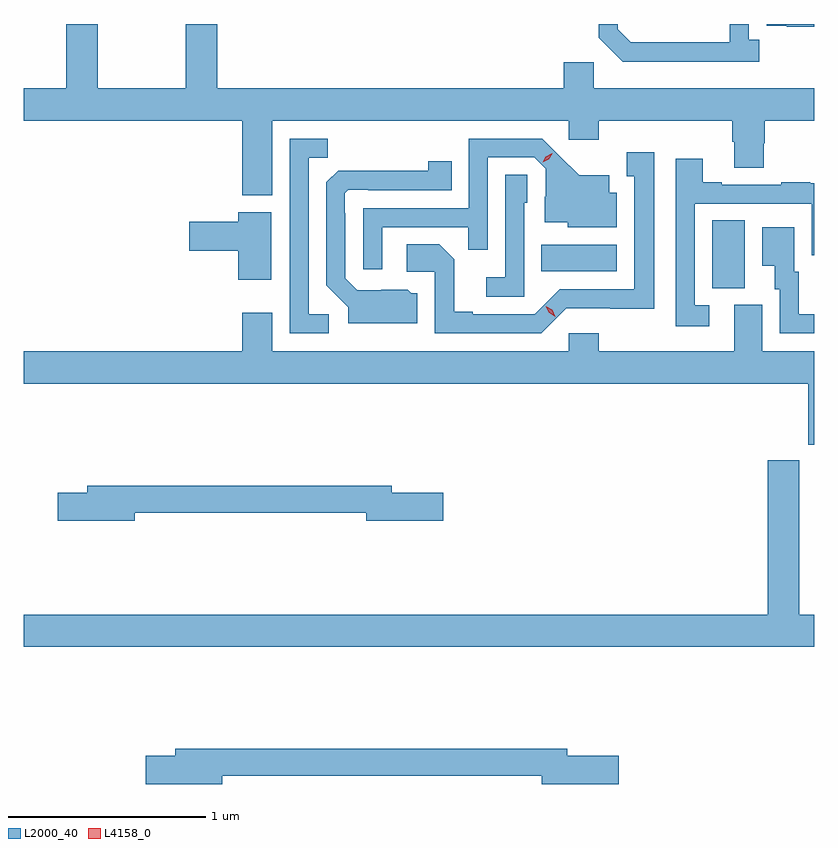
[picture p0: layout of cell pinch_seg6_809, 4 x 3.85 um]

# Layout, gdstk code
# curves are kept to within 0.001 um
import gdstk
lib = gdstk.Library(unit=1e-6, precision=1e-09)
def R(c, l, rs):  # rectangles x0, y0, x1, y1
    for r in rs: c.add(gdstk.rectangle(r[:2], r[2:], *l))
def P(c, l, *ps):  # polygons
    for p in ps: c.add(gdstk.Polygon(p, *l))
L2000_40 = (2000, 40)
L4158_0 = (4158, 0)

pinch_seg6_809 = lib.new_cell('pinch_seg6_809')
R(pinch_seg6_809, L2000_40, [(148.67,977.125,148.834,977.468), (147.802,977.21,148.186,977.344)])
P(pinch_seg6_809, L2000_40, [(149.184,978.462),(148.945,978.462),(148.945,978.453),(149.047,978.453),(149.047,978.447),(149.184,978.447)],
  [(148.906,978.382),(148.854,978.382),(148.854,978.462),(148.757,978.462),(148.757,978.369),(148.257,978.369),(148.191,978.435),(148.191,978.462),(148.095,978.462),(148.095,978.393),(148.216,978.272),(148.906,978.272)],
  [(146.44,977.972),(147.942,977.972),(147.942,977.877),(148.094,977.877),(148.094,977.972),(148.769,977.972),(148.769,977.866),(148.781,977.866),(148.781,977.734),(148.929,977.734),(148.929,977.859),(148.934,977.859),(148.934,977.972),(149.184,977.972),(149.184,978.136),(148.068,978.136),(148.068,978.268),(147.917,978.268),(147.917,978.136),(146.162,978.136),(146.162,978.462),(146.002,978.462),(146.002,978.136),(145.557,978.136),(145.557,978.462),(145.397,978.462),(145.397,978.136),(145.184,978.136),(145.184,977.972),(146.288,977.972),(146.288,977.594),(146.44,977.594)],
  [(146.997,977.433),(147.433,977.433),(147.433,977.32),(147.531,977.32),(147.531,977.787),(147.768,977.787),(147.825,977.73),(147.825,977.588),(147.821,977.588),(147.821,977.459),(147.936,977.459),(147.936,977.432),(148.186,977.432),(148.186,977.608),(148.147,977.608),(148.147,977.695),(147.995,977.695),(147.808,977.88),(147.435,977.88),(147.435,977.529),(146.901,977.529),(146.901,977.22),(146.997,977.22)],
  [(146.728,976.992),(146.625,976.992),(146.625,977.785),(146.721,977.785),(146.721,977.88),(146.529,977.88),(146.529,976.896),(146.728,976.896)],
  [(147.93,977.022),(148.375,977.021),(148.375,977.812),(148.235,977.812),(148.235,977.691),(148.274,977.691),(148.274,977.118),(147.897,977.118),(147.771,976.992),(147.457,976.992),(147.457,977.005),(147.363,977.005),(147.363,977.272),(147.287,977.348),(147.123,977.348),(147.123,977.208),(147.264,977.208),(147.264,976.896),(147.804,976.896)],
  [(148.654,977.037),(148.581,977.037),(148.581,977.553),(149.172,977.553),(149.172,977.292),(149.184,977.292),(149.184,977.655),(149.165,977.655),(149.165,977.662),(149.017,977.662),(149.017,977.649),(148.717,977.649),(148.717,977.662),(148.621,977.662),(148.621,977.779),(148.485,977.779),(148.485,976.932),(148.654,976.932)],
  [(147.175,977.1),(147.144,977.1),(147.128,977.116),(146.871,977.115),(146.811,977.175),(146.811,977.504),(146.808,977.504),(146.808,977.604),(146.826,977.622),(146.926,977.622),(146.926,977.619),(147.35,977.619),(147.35,977.767),(147.232,977.767),(147.232,977.72),(146.774,977.719),(146.715,977.66),(146.715,977.138),(146.825,977.028),(146.825,976.946),(147.175,976.946)],
  [(147.717,977.556),(147.732,977.556),(147.732,977.699),(147.621,977.699),(147.621,977.179),(147.525,977.179),(147.525,977.082),(147.717,977.082)],
  [(146.437,977.509),(146.27,977.509),(146.27,977.462),(146.022,977.462),(146.022,977.315),(146.27,977.315),(146.27,977.166),(146.437,977.166)],
  [(149.184,976.992),(149.107,976.992),(149.107,977.208),(149.083,977.208),(149.083,977.434),(148.922,977.434),(148.922,977.237),(148.985,977.237),(148.985,977.118),(149.01,977.118),(149.01,976.896),(149.184,976.896)],
  [(146.288,976.999),(146.288,976.804),(145.184,976.804),(145.184,976.64),(149.156,976.64),(149.156,976.331),(149.184,976.331),(149.184,976.804),(148.921,976.804),(148.921,977.04),(148.781,977.04),(148.781,976.804),(148.094,976.804),(148.094,976.897),(147.942,976.897),(147.942,976.804),(146.44,976.804),(146.44,976.999)],
  [(145.744,975.988),(146.918,975.988),(146.918,975.946),(147.307,975.946),(147.307,976.088),(147.046,976.088),(147.046,976.124),(145.505,976.124),(145.505,976.088),(145.356,976.088),(145.356,975.946),(145.744,975.946)],
  [(148.949,976.252),(148.949,975.472),(145.184,975.472),(145.184,975.308),(149.184,975.308),(149.184,975.472),(149.109,975.472),(149.109,976.252)],
  [(146.188,974.656),(147.806,974.656),(147.806,974.614),(148.195,974.614),(148.195,974.756),(147.934,974.756),(147.934,974.792),(145.949,974.792),(145.949,974.756),(145.8,974.756),(145.8,974.614),(146.188,974.614)])
P(pinch_seg6_809, L4158_0, [(147.874,976.981),(147.843,977),(147.826,977.033),(147.826,977.034),(147.826,977.034),(147.858,977.014),(147.874,976.981),(147.874,976.981)],
  [(147.81,977.762),(147.81,977.762),(147.827,977.791),(147.858,977.807),(147.858,977.807),(147.858,977.806),(147.841,977.777),(147.81,977.762)])

lib.write_gds('pinch_seg6_809.gds')
